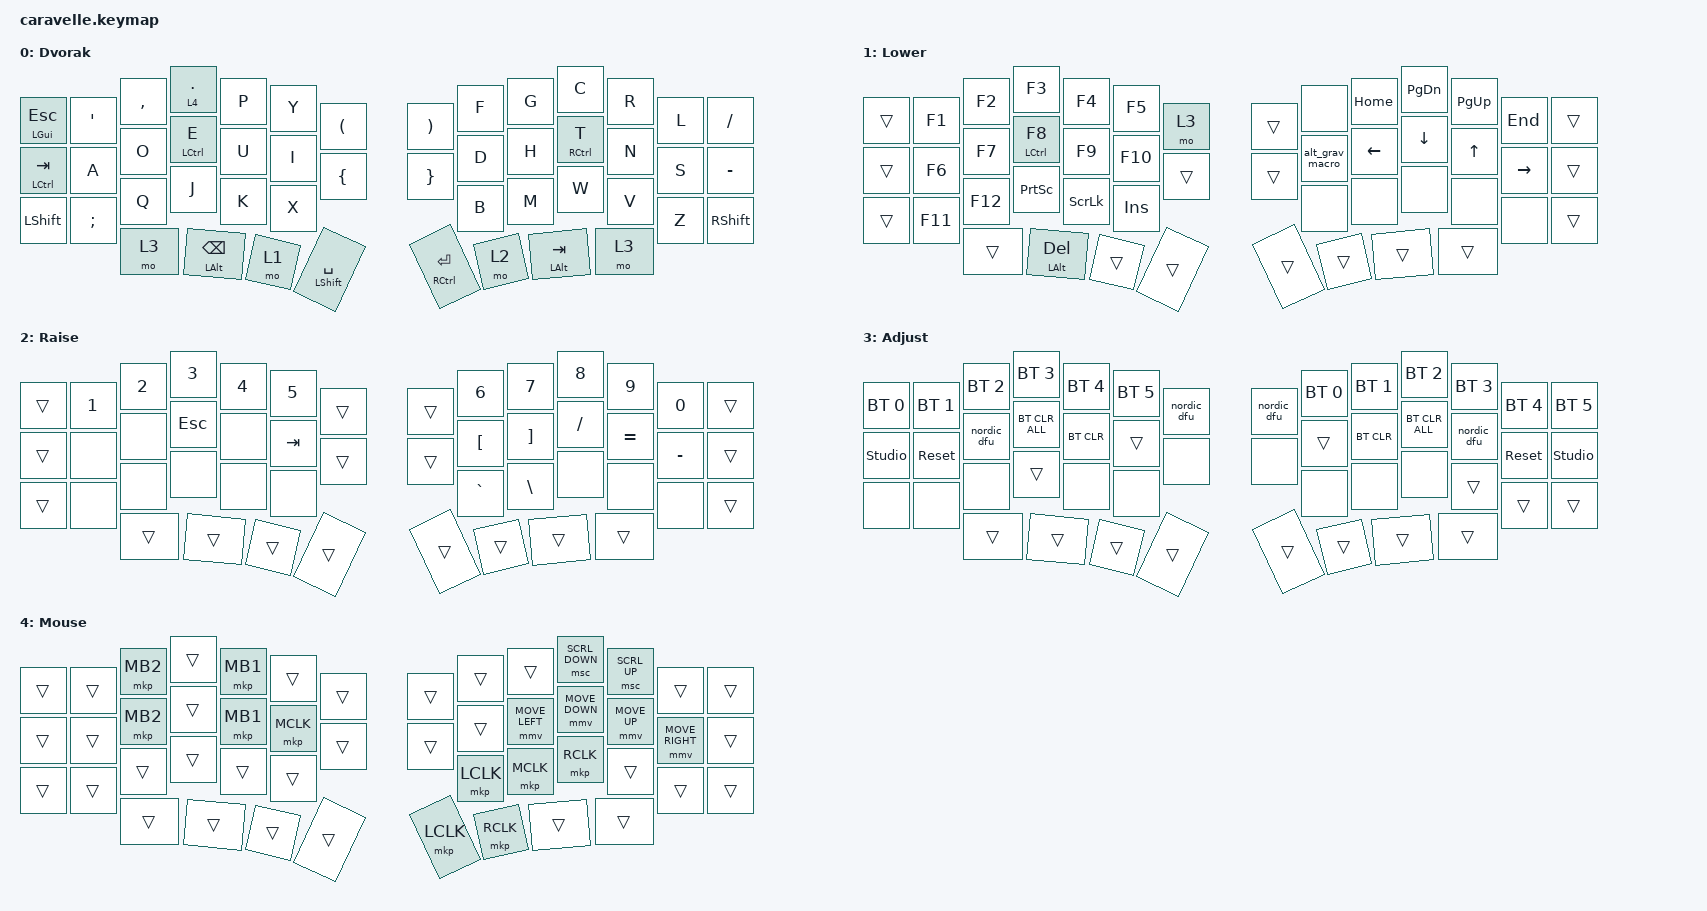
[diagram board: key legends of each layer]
#include <behaviors.dtsi>
#include <dt-bindings/zmk/bt.h>
#include <dt-bindings/zmk/keys.h>
#include <dt-bindings/zmk/pointing.h>
#include <dt-bindings/zmk/nordic_dfu.dtsi>

/*
 * ==============================================================================
 * ベースレイヤー（Default Layer）の切り替え設定
 *   1 = Dvorak 配列をデフォルトにする (dev ブランチ用)
 *   0 = Qwerty 配列をデフォルトにする (main ブランチ用)
 * ==============================================================================
 */
#ifndef USE_DVORAK_AS_DEFAULT
#define USE_DVORAK_AS_DEFAULT 1
#endif

/ {
    // ========== 1. カスタムビヘイビアの定義 ==========
    // デフォルトのMod-Tap(&mt)の挙動を上書きし、QMK風の快適な設定に変更します

    behaviors {
        mt: mod_tap {
            compatible = "zmk,behavior-hold-tap";
            #binding-cells = <2>;

            // --- ここからがカスタマイズ項目です ---
            // タップとホールドを認識する時間。200msに設定。
            tapping-term-ms = <200>;

            // 'tap-preferred'フレーバーを選択。
            // これにより、高速でキーを連続入力（ローリング）した際に、
            // ホールド（モディファイア）が誤爆するのを防ぎます。
            // QMKの`IGNORE_MOD_TAP_INTERRUPT`に近い挙動です。
            flavor = "tap-preferred";

            // (オプション) この時間内の素早い連続タップは、強制的にタップとして扱います。
            // これにより、スペースキーやエンターキーの連続タップがより確実になります。
            quick-tap-ms = <150>;

            // --- ここまでがカスタマイズ項目です ---
            bindings = <&kp>, <&kp>;
        };

        // Alt + ` マクロ (ALT_GRV) の定義
        // 日本語入力のオンオフで、ChromeでAltキーが暴発するための対策マクロ
        alt_grav_macro: alt_grav_macro {
            compatible = "zmk,behavior-macro";
            #binding-cells = <0>;
            bindings =
                <&macro_press>,
                <&kp LALT>,
                <&macro_tap>,
                <&kp GRAVE>,
                <&macro_release>,
                <&kp LALT>;
        };
    };

    macros {
    };

    // ========== 2. キーマップレイヤーの定義 ==========

    keymap {
        compatible = "zmk,keymap";

#if USE_DVORAK_AS_DEFAULT
        // ==========================================
        // Layer 0: Default (Dvorak 配列)
        // ==========================================
        default_layer {
            display-name = "Dvorak";
            bindings = <
&mt LGUI ESC   &kp SQT        &kp COMMA  &lt 4 DOT           &kp P            &kp Y  &kp F         &kp G     &kp C  &kp R  &kp L                &kp SLASH
&mt LCTRL TAB  &kp A          &kp O      &mt LEFT_CONTROL E  &kp U            &kp I  &kp LPAR      &kp RPAR  &kp D  &kp H  &mt RIGHT_CONTROL T  &kp N      &kp S  &kp MINUS
&kp LSHFT      &kp SEMICOLON  &kp Q      &kp J               &kp K            &kp X  &kp LBRC      &kp RBRC  &kp B  &kp M  &kp W                &kp V      &kp Z  &kp RSHIFT
&mo 3          &mt LALT BSPC  &mo 1      &mt LSHIFT SPACE    &mt RCTRL ENTER  &mo 2  &mt LALT TAB  &mo 3
            >;
        };
#else
        // ==========================================
        // Layer 0: Default (Qwerty 配列)
        // ==========================================
        default_layer {
            display-name = "Qwerty";
            bindings = <
&mt LGUI ESC   &kp Q          &kp W      &kp E               &kp R            &kp T  &kp Y         &kp U     &kp I  &kp O  &kp P                &kp LBKT
&mt LCTRL TAB  &kp A          &kp S      &mt LEFT_CONTROL D  &kp F            &kp G  &kp LPAR      &kp RPAR  &kp H  &kp J  &mt RIGHT_CONTROL K  &kp L      &kp SEMI  &kp SQT
&kp LSHFT      &kp Z          &kp X      &kp C               &kp V            &kp B  &kp LBRC      &kp RBRC  &kp N  &kp M  &kp COMMA            &lt 4 DOT  &kp SLASH &kp RSHIFT
&mo 3          &mt LALT BSPC  &mo 1      &mt LSHIFT SPACE    &mt RCTRL ENTER  &mo 2  &mt LALT TAB  &mo 3
            >;
        };
#endif

        // レイヤー 1: _LOWER
        lower_layer {
            display-name = "Lower";
            bindings = <
&trans  &kp F1        &kp F2   &kp F3               &kp F4    &kp F5   &none   &kp HOME  &kp PAGE_DOWN    &kp PAGE_UP  &kp END   &trans
&trans  &kp F6        &kp F7   &mt LEFT_CONTROL F8  &kp F9    &kp F10  &mo 3   &trans    &alt_grav_macro  &kp LEFT     &kp DOWN  &kp UP  &kp RIGHT  &trans
&trans  &kp F11       &kp F12  &kp PSCRN            &kp SLCK  &kp INS  &trans  &trans    &none            &none        &none     &none   &none      &trans
&trans  &mt LALT DEL  &trans   &trans               &trans    &trans   &trans  &trans
            >;
        };

        // レイヤー 2: _RAISE
        raise_layer {
            display-name = "Raise";
            bindings = <
&trans  &kp N1  &kp N2  &kp N3   &kp N4  &kp N5   &kp N6  &kp N7  &kp N8     &kp N9    &kp N0     &trans
&trans  &none   &none   &kp ESC  &none   &kp TAB  &trans  &trans  &kp LBKT   &kp RBKT  &kp SLASH  &kp EQUAL  &kp MINUS  &trans
&trans  &none   &none   &none    &none   &none    &trans  &trans  &kp GRAVE  &kp BSLH  &none      &none      &none      &trans
&trans  &trans  &trans  &trans   &trans  &trans   &trans  &trans
            >;
        };

        // レイヤー 3: _ADJUST
        adjust_layer {
            display-name = "Adjust";
            bindings = <
&bt BT_SEL 0    &bt BT_SEL 1  &bt BT_SEL 2  &bt BT_SEL 3    &bt BT_SEL 4  &bt BT_SEL 5    &bt BT_SEL 0  &bt BT_SEL 1  &bt BT_SEL 2    &bt BT_SEL 3  &bt BT_SEL 4  &bt BT_SEL 5
&studio_unlock  &sys_reset    &nordic_dfu   &bt BT_CLR_ALL  &bt BT_CLR    &trans          &nordic_dfu   &nordic_dfu   &trans          &bt BT_CLR    &bt BT_CLR_ALL &nordic_dfu  &sys_reset  &studio_unlock
&none           &none         &none         &trans          &none         &none           &none         &none         &none           &none         &none         &trans        &trans      &trans
&trans          &trans        &trans        &trans          &trans        &trans          &trans        &trans
            >;
        };

        // レイヤー 4: _MOUSE
        mouse_layer {
            display-name = "Mouse";
            bindings = <
&trans  &trans  &mkp MB2  &trans  &mkp MB1   &trans     &trans  &trans  &msc SCRL_DOWN  &msc SCRL_UP    &trans          &trans
&trans  &trans  &mkp MB2  &trans  &mkp MB1   &mkp MCLK  &trans  &trans  &trans          &mmv MOVE_LEFT  &mmv MOVE_DOWN  &mmv MOVE_UP  &mmv MOVE_RIGHT  &trans
&trans  &trans  &trans    &trans  &trans     &trans     &trans  &trans  &mkp LCLK       &mkp MCLK       &mkp RCLK       &trans        &trans           &trans
&trans  &trans  &trans    &trans  &mkp LCLK  &mkp RCLK  &trans  &trans
            >;
        };
    };
};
